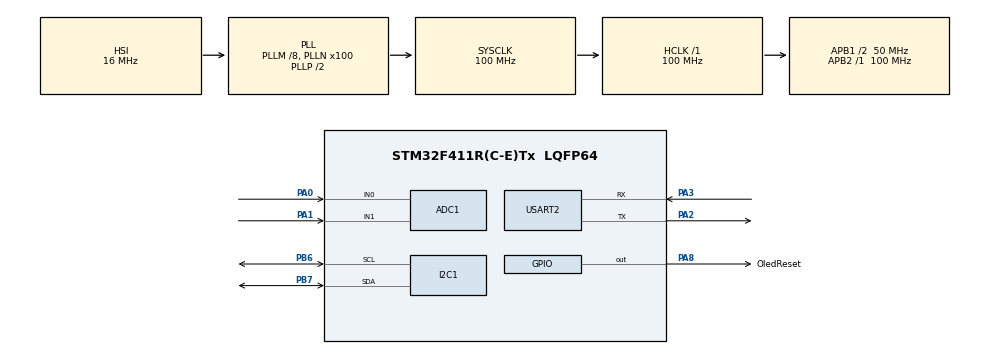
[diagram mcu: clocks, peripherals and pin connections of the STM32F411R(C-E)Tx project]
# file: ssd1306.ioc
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ADC1.Channel-0\#ChannelRegularConversion=ADC_CHANNEL_0
ADC1.Channel-1\#ChannelRegularConversion=ADC_CHANNEL_1
ADC1.ContinuousConvMode=ENABLE
ADC1.DMAContinuousRequests=ENABLE
ADC1.NbrOfConversion=2
ADC1.NbrOfConversionFlag=1
ADC1.Rank-0\#ChannelRegularConversion=1
ADC1.Rank-1\#ChannelRegularConversion=2
ADC1.SamplingTime-0\#ChannelRegularConversion=ADC_SAMPLETIME_84CYCLES
ADC1.SamplingTime-1\#ChannelRegularConversion=ADC_SAMPLETIME_84CYCLES
ADC1.ScanConvMode=ENABLE
ADC1.master=1
Dma.ADC1.0.Direction=DMA_PERIPH_TO_MEMORY
Dma.ADC1.0.FIFOMode=DMA_FIFOMODE_DISABLE
Dma.ADC1.0.Instance=DMA2_Stream0
Dma.ADC1.0.MemDataAlignment=DMA_MDATAALIGN_HALFWORD
Dma.ADC1.0.MemInc=DMA_MINC_ENABLE
Dma.ADC1.0.Mode=DMA_CIRCULAR
Dma.ADC1.0.PeriphDataAlignment=DMA_PDATAALIGN_HALFWORD
Dma.ADC1.0.PeriphInc=DMA_PINC_DISABLE
Dma.ADC1.0.Priority=DMA_PRIORITY_LOW
Dma.Request0=ADC1
I2C1.I2C_Mode=I2C_Fast
Mcu.Family=STM32F4
Mcu.Name=STM32F411R(C-E)Tx
Mcu.Package=LQFP64
NVIC.DMA2_Stream0_IRQn=true\:0\:0\:false\:false\:true\:false\:true\:true
NVIC.PriorityGroup=NVIC_PRIORITYGROUP_4
NVIC.USART2_IRQn=true\:0\:0\:false\:false\:true\:true\:true\:true
PA0-WKUP.Signal=ADCx_IN0
PA1.Signal=ADCx_IN1
PA2.Mode=Asynchronous
PA2.Signal=USART2_TX
PA3.Mode=Asynchronous
PA3.Signal=USART2_RX
PA8.GPIO_Label=OledReset
PA8.Signal=GPIO_Output
PB6.GPIO_Pu=GPIO_PULLUP
PB6.Mode=I2C
PB6.Signal=I2C1_SCL
PB7.GPIO_Pu=GPIO_PULLUP
PB7.Mode=I2C
PB7.Signal=I2C1_SDA
ProjectManager.HeapSize=0x200
ProjectManager.StackSize=0x400
ProjectManager.TargetToolchain=STM32CubeIDE
RCC.48MHZClocksFreq_Value=50000000
RCC.AHBFreq_Value=100000000
RCC.APB1CLKDivider=RCC_HCLK_DIV2
RCC.APB1Freq_Value=50000000
RCC.APB1TimFreq_Value=100000000
RCC.APB2Freq_Value=100000000
RCC.APB2TimFreq_Value=100000000
RCC.CortexFreq_Value=100000000
RCC.HCLKFreq_Value=100000000
RCC.HSE_VALUE=25000000
RCC.HSI_VALUE=16000000
RCC.LSE_VALUE=32768
RCC.PLLM=8
RCC.PLLN=100
RCC.SYSCLKFreq_VALUE=100000000
RCC.SYSCLKSource=RCC_SYSCLKSOURCE_PLLCLK
RCC.VCOOutputFreq_Value=200000000
SH.ADCx_IN0.0=ADC1_IN0,IN0
SH.ADCx_IN1.0=ADC1_IN1,IN1
USART2.VirtualMode=VM_ASYNC
board=custom

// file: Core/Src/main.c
/* USER CODE BEGIN Header */
/**
  ******************************************************************************
  * @file           : main.c
  * @brief          : Main program body
  ******************************************************************************
  * @attention
  *
  * Copyright (c) 2024 STMicroelectronics.
  * All rights reserved.
  *
  * This software is licensed under terms that can be found in the LICENSE file
  * in the root directory of this software component.
  * If no LICENSE file comes with this software, it is provided AS-IS.
  *
  ******************************************************************************
  */
/* USER CODE END Header */
#include "main.h"

/* USER CODE BEGIN Includes */
#include "uart.h"
#include "ssd1306.h"
/* USER CODE END Includes */

ADC_HandleTypeDef hadc1;
DMA_HandleTypeDef hdma_adc1;

I2C_HandleTypeDef hi2c1;

UART_HandleTypeDef huart2;

void SystemClock_Config(void);
static void MX_GPIO_Init(void);
static void MX_DMA_Init(void);
static void MX_I2C1_Init(void);
static void MX_USART2_UART_Init(void);
static void MX_ADC1_Init(void);

/* USER CODE BEGIN 0 */
// this code is not used in this project. this is for example.
#define DevAddress 0xA0   // device address for 24LC64
void writeEeprom(uint16_t address, uint8_t data) {
	//uint8_t txBuffer[3]; // three byte
	//txBuffer[0] = address >> 8;
	//txBuffer[1] = address;     // upper bit cut auto
	//txbuffer[2] = data;
	//HAL_I2C_Master_Transmit(&hi2c1, DevAddress, txBuffer, sizeof(txBuffer), 10);
	HAL_I2C_Mem_Write(&hi2c1, DevAddress, address, 2, &data, 1, 10); // this line auto
	HAL_Delay(5); // data sheet -> 5ms
}

void writeEeprom32(uint16_t address, uint32_t data) {
	uint8_t txBuffer[4];
	memcpy(txBuffer, &data, 4); // 4 byte�??? ?��?�� ?��?��
	HAL_I2C_Mem_Write(&hi2c1, DevAddress, address, 2, txBuffer, 4, 10);
	HAL_Delay(5);
}

uint8_t readEeprom(uint16_t address) {
	//uint8_t txBuffer[2];
	uint8_t rxBuffer;
	//txBuffer[0] = address >> 8;
	//txBuffer[1] = address;
	//HAL_I2C_Master_Transmit(&hi2c1, DevAddress, txBuffer, sizeof(txBuffer), 10); // after transmit, read data
	//HAL_I2C_Master_Receive(&hi2c1, DevAddress, &rxBuffer, 1, 10); // for read
	HAL_I2C_Mem_Read(&hi2c1, DevAddress, address, 2, &rxBuffer, 1, 10);
	return rxBuffer;
}

uint32_t readEeprom32(uint16_t address) {
	uint8_t rxBuffer[4];
	uint32_t result;
	HAL_I2C_Mem_Read(&hi2c1, DevAddress, address, 2, rxBuffer, 4, 10);
	memcpy(&result, rxBuffer, 4);
	return result;
}

void scanI2C() {
	printf("scan i2c address\n");
	for(int address = 0; address < 256; address++) {
		if(HAL_I2C_IsDeviceReady(&hi2c1, address, 0, 10) == HAL_OK) {
			printf("found = 0x%x\n", address);
		}
	}
	printf("end scan\n");
}

/* USER CODE END 0 */

int main(void)
{

  /* MCU Configuration--------------------------------------------------------*/

  /* Reset of all peripherals, Initializes the Flash interface and the Systick. */
  HAL_Init();

  /* Configure the system clock */
  SystemClock_Config();

  /* Initialize all configured peripherals */
  MX_GPIO_Init();
  MX_DMA_Init();
  MX_I2C1_Init();
  MX_USART2_UART_Init();
  MX_ADC1_Init();
  /* USER CODE BEGIN 2 */
  initUart(&huart2);
  ssd1306_Init();
  //scanI2C();
  uint16_t adcValue[2];
  HAL_ADC_Start_DMA(&hadc1, (uint32_t *)adcValue, 2);

  /*ssd1306_Init();                 // ssd1306 initialize
  ssd1306_SetCursor(40, 30);      // move cursor
  ssd1306_WriteString("Hello world", Font_6x8, 1); // this contents saved to buffer
  ssd1306_UpdateScreen();          // saved buffer content transmit to led
  HAL_Delay(1000);
  ssd1306_Fill(0); // inter buffer filled zero
  ssd1306_DrawCircle(63, 31, 31, 1);
  ssd1306_UpdateScreen();*/

  /* USER CODE END 2 */

  /* Infinite loop */
  /* USER CODE BEGIN WHILE */
  ssd1306_SetCursor(0, 0);
  ssd1306_WriteString("hello world", Font_6x8, 1);
  outtextxy_hans(0, 0, hello);
  outtextxy_hans(0, 1, string2);
  ssd1306_UpdateScreen();
  ssd1306_ScrollLeft(0, 7);
  while(1);

  while (1)
  {
  	/*static int angle = 0, x, y;
  	angle += 1;
  	angle %= 360;
  	ssd1306_Line(63, 31, 63+x, 31+y, 0); // this line means before draw line fill black line
  	x = cos(angle * 3.14 / 180) * 30;
  	y = sin(angle * 3.14 / 180) * 30;
  	ssd1306_Line(63, 31, 63+x, 31+y, 1);
  	ssd1306_UpdateScreen();
  	HAL_Delay(10); // before line still remain so drawn line re draw black line best simple way
  	*/

  	/*ssd1306_SetCursor(0, 0);
  	char str[40];
  	sprintf(str, "x = %4d, y = %4d", adcValue[0], adcValue[1]);
  	ssd1306_WriteString(str, Font_6x8, 1);
  	ssd1306_DrawPixel(x, y, 0);
  	ssd1306_UpdateScreen();
  	HAL_Delay(10);*/

  	/*static int x, y;
  	ssd1306_Line(x, 0, x, 63, 0);  // erase before value
  	ssd1306_Line(0, y, 127, y, 0);
  	//ssd1306_DrawPixel(x, y, 0);
  	x = adcValue[0] / 32;
  	y = adcValue[1] / 64;
  	ssd1306_Line(x, 0, x, 63, 1);  // draw new line
  	ssd1306_Line(0, y, 127, y, 1);
  	//ssd1306_DrawPixel(x, y, 1);
  	ssd1306_UpdateScreen();
  	HAL_Delay(10);*/

  	/*scrollLeftBySoft();
  	ssd1306_DrawPixel(127, adcValue[1]/64, 1);
  	ssd1306_UpdateScreen();
  	HAL_Delay(50);*/

    /* USER CODE END WHILE */

  }
}

void SystemClock_Config(void)
{
  RCC_OscInitTypeDef RCC_OscInitStruct = {0};
  RCC_ClkInitTypeDef RCC_ClkInitStruct = {0};

  /** Configure the main internal regulator output voltage
  */
  __HAL_RCC_PWR_CLK_ENABLE();
  __HAL_PWR_VOLTAGESCALING_CONFIG(PWR_REGULATOR_VOLTAGE_SCALE1);

  /** Initializes the RCC Oscillators according to the specified parameters
  * in the RCC_OscInitTypeDef structure.
  */
  RCC_OscInitStruct.OscillatorType = RCC_OSCILLATORTYPE_HSI;
  RCC_OscInitStruct.HSIState = RCC_HSI_ON;
  RCC_OscInitStruct.HSICalibrationValue = RCC_HSICALIBRATION_DEFAULT;
  RCC_OscInitStruct.PLL.PLLState = RCC_PLL_ON;
  RCC_OscInitStruct.PLL.PLLSource = RCC_PLLSOURCE_HSI;
  RCC_OscInitStruct.PLL.PLLM = 8;
  RCC_OscInitStruct.PLL.PLLN = 100;
  RCC_OscInitStruct.PLL.PLLP = RCC_PLLP_DIV2;
  RCC_OscInitStruct.PLL.PLLQ = 4;
  if (HAL_RCC_OscConfig(&RCC_OscInitStruct) != HAL_OK)
  {
    Error_Handler();
  }

  /** Initializes the CPU, AHB and APB buses clocks
  */
  RCC_ClkInitStruct.ClockType = RCC_CLOCKTYPE_HCLK|RCC_CLOCKTYPE_SYSCLK
                              |RCC_CLOCKTYPE_PCLK1|RCC_CLOCKTYPE_PCLK2;
  RCC_ClkInitStruct.SYSCLKSource = RCC_SYSCLKSOURCE_PLLCLK;
  RCC_ClkInitStruct.AHBCLKDivider = RCC_SYSCLK_DIV1;
  RCC_ClkInitStruct.APB1CLKDivider = RCC_HCLK_DIV2;
  RCC_ClkInitStruct.APB2CLKDivider = RCC_HCLK_DIV1;

  if (HAL_RCC_ClockConfig(&RCC_ClkInitStruct, FLASH_LATENCY_3) != HAL_OK)
  {
    Error_Handler();
  }
}

static void MX_ADC1_Init(void)
{

  ADC_ChannelConfTypeDef sConfig = {0};

  /** Configure the global features of the ADC (Clock, Resolution, Data Alignment and number of conversion)
  */
  hadc1.Instance = ADC1;
  hadc1.Init.ClockPrescaler = ADC_CLOCK_SYNC_PCLK_DIV4;
  hadc1.Init.Resolution = ADC_RESOLUTION_12B;
  hadc1.Init.ScanConvMode = ENABLE;
  hadc1.Init.ContinuousConvMode = ENABLE;
  hadc1.Init.DiscontinuousConvMode = DISABLE;
  hadc1.Init.ExternalTrigConvEdge = ADC_EXTERNALTRIGCONVEDGE_NONE;
  hadc1.Init.ExternalTrigConv = ADC_SOFTWARE_START;
  hadc1.Init.DataAlign = ADC_DATAALIGN_RIGHT;
  hadc1.Init.NbrOfConversion = 2;
  hadc1.Init.DMAContinuousRequests = ENABLE;
  hadc1.Init.EOCSelection = ADC_EOC_SINGLE_CONV;
  if (HAL_ADC_Init(&hadc1) != HAL_OK)
  {
    Error_Handler();
  }

  /** Configure for the selected ADC regular channel its corresponding rank in the sequencer and its sample time.
  */
  sConfig.Channel = ADC_CHANNEL_0;
  sConfig.Rank = 1;
  sConfig.SamplingTime = ADC_SAMPLETIME_84CYCLES;
  if (HAL_ADC_ConfigChannel(&hadc1, &sConfig) != HAL_OK)
  {
    Error_Handler();
  }

  /** Configure for the selected ADC regular channel its corresponding rank in the sequencer and its sample time.
  */
  sConfig.Channel = ADC_CHANNEL_1;
  sConfig.Rank = 2;
  if (HAL_ADC_ConfigChannel(&hadc1, &sConfig) != HAL_OK)
  {
    Error_Handler();
  }

}

static void MX_I2C1_Init(void)
{

  hi2c1.Instance = I2C1;
  hi2c1.Init.ClockSpeed = 400000;
  hi2c1.Init.DutyCycle = I2C_DUTYCYCLE_2;
  hi2c1.Init.OwnAddress1 = 0;
  hi2c1.Init.AddressingMode = I2C_ADDRESSINGMODE_7BIT;
  hi2c1.Init.DualAddressMode = I2C_DUALADDRESS_DISABLE;
  hi2c1.Init.OwnAddress2 = 0;
  hi2c1.Init.GeneralCallMode = I2C_GENERALCALL_DISABLE;
  hi2c1.Init.NoStretchMode = I2C_NOSTRETCH_DISABLE;
  if (HAL_I2C_Init(&hi2c1) != HAL_OK)
  {
    Error_Handler();
  }

}

static void MX_USART2_UART_Init(void)
{

  huart2.Instance = USART2;
  huart2.Init.BaudRate = 115200;
  huart2.Init.WordLength = UART_WORDLENGTH_8B;
  huart2.Init.StopBits = UART_STOPBITS_1;
  huart2.Init.Parity = UART_PARITY_NONE;
  huart2.Init.Mode = UART_MODE_TX_RX;
  huart2.Init.HwFlowCtl = UART_HWCONTROL_NONE;
  huart2.Init.OverSampling = UART_OVERSAMPLING_16;
  if (HAL_UART_Init(&huart2) != HAL_OK)
  {
    Error_Handler();
  }

}

static void MX_DMA_Init(void)
{

  /* DMA controller clock enable */
  __HAL_RCC_DMA2_CLK_ENABLE();

  /* DMA interrupt init */
  /* DMA2_Stream0_IRQn interrupt configuration */
  HAL_NVIC_SetPriority(DMA2_Stream0_IRQn, 0, 0);
  HAL_NVIC_EnableIRQ(DMA2_Stream0_IRQn);

}

static void MX_GPIO_Init(void)
{
  GPIO_InitTypeDef GPIO_InitStruct = {0};

  /* GPIO Ports Clock Enable */
  __HAL_RCC_GPIOA_CLK_ENABLE();
  __HAL_RCC_GPIOB_CLK_ENABLE();

  /*Configure GPIO pin Output Level */
  HAL_GPIO_WritePin(OledReset_GPIO_Port, OledReset_Pin, GPIO_PIN_RESET);

  /*Configure GPIO pin : OledReset_Pin */
  GPIO_InitStruct.Pin = OledReset_Pin;
  GPIO_InitStruct.Mode = GPIO_MODE_OUTPUT_PP;
  GPIO_InitStruct.Pull = GPIO_NOPULL;
  GPIO_InitStruct.Speed = GPIO_SPEED_FREQ_LOW;
  HAL_GPIO_Init(OledReset_GPIO_Port, &GPIO_InitStruct);

}

void Error_Handler(void)
{
  __disable_irq();
  while (1)
  {
  }
}
